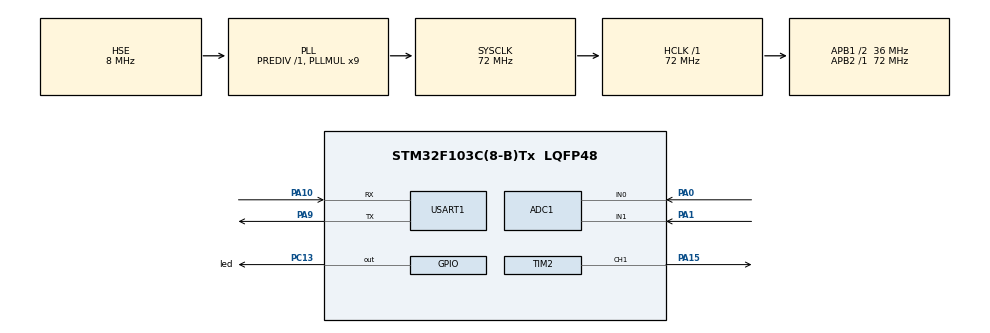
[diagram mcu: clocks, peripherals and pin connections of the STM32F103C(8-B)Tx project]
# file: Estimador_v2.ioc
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Mcu.Family=STM32F1
RCC.PLLSourceVirtual=RCC_PLLSOURCE_HSE
NVIC.ADC1_2_IRQn=true\:0\:0\:false\:false\:true\:true\:true
Dma.ADC1.0.Instance=DMA1_Channel1
ADC1.Rank-0\#ChannelRegularConversion=1
TIM3.Channel-Output\ Compare1\ No\ Output=TIM_CHANNEL_1
PD1-OSC_OUT.Mode=HSE-External-Oscillator
PA10.Mode=Asynchronous
PC13-TAMPER-RTC.Signal=GPIO_Output
PD0-OSC_IN.Signal=RCC_OSC_IN
RCC.APB1CLKDivider=RCC_HCLK_DIV2
RCC.SYSCLKSource=RCC_SYSCLKSOURCE_PLLCLK
ProjectManager.StackSize=0x400
PA0-WKUP.Signal=ADCx_IN0
TIM2.Pulse-PWM\ Generation1\ CH1=127
PD1-OSC_OUT.Signal=RCC_OSC_OUT
RCC.ADCPresc=RCC_ADCPCLK2_DIV6
PA13.Signal=SYS_JTMS-SWDIO
Dma.ADC1.0.PeriphDataAlignment=DMA_PDATAALIGN_HALFWORD
PA9.Mode=Asynchronous
ProjectManager.TargetToolchain=STM32CubeIDE
Dma.ADC1.0.Mode=DMA_CIRCULAR
RCC.HCLKFreq_Value=72000000
Dma.ADC1.0.Priority=DMA_PRIORITY_LOW
RCC.APB2TimFreq_Value=72000000
TIM3.Period=2 - 1
PA9.Signal=USART1_TX
ADC1.Channel-1\#ChannelRegularConversion=ADC_CHANNEL_1
Dma.ADC1.0.Direction=DMA_PERIPH_TO_MEMORY
RCC.USBFreq_Value=72000000
TIM4.Prescaler=720 - 1
Dma.ADC1.0.MemDataAlignment=DMA_MDATAALIGN_HALFWORD
PA1.Signal=ADCx_IN1
RCC.AHBFreq_Value=72000000
PD0-OSC_IN.Mode=HSE-External-Oscillator
ADC1.Channel-0\#ChannelRegularConversion=ADC_CHANNEL_0
board=custom
VP_TIM3_VS_no_output1.Mode=Output Compare1 No Output
PC13-TAMPER-RTC.GPIO_Label=led
RCC.PLLMUL=RCC_PLL_MUL9
RCC.APB2Freq_Value=72000000
VP_TIM2_VS_ClockSourceINT.Mode=Internal
PA14.Mode=Serial_Wire
TIM3.Prescaler=720 - 1
Dma.ADC1.0.PeriphInc=DMA_PINC_DISABLE
SH.ADCx_IN0.0=ADC1_IN0,IN0
TIM2.Channel-PWM\ Generation1\ CH1=TIM_CHANNEL_1
SH.S_TIM3_CH1.0=TIM3_CH1
TIM2.Period=256 - 1
TIM4.Period=2 - 1
ADC1.NbrOfConversion=2
PA13.Mode=Serial_Wire
Mcu.Name=STM32F103C(8-B)Tx
ADC1.SamplingTime-0\#ChannelRegularConversion=ADC_SAMPLETIME_1CYCLE_5
ADC1.ExternalTrigConv=ADC_EXTERNALTRIGCONV_T3_TRGO
ADC1.SamplingTime-1\#ChannelRegularConversion=ADC_SAMPLETIME_1CYCLE_5
RCC.SYSCLKFreq_VALUE=72000000
Mcu.Package=LQFP48
TIM2.Prescaler=1 - 1
ADC1.master=1
USART1.VirtualMode=VM_ASYNC
ADC1.Rank-1\#ChannelRegularConversion=2
SH.S_TIM2_CH1_ETR.0=TIM2_CH1,PWM Generation1 CH1
PA10.Signal=USART1_RX
PA14.Signal=SYS_JTCK-SWCLK
Dma.ADC1.0.MemInc=DMA_MINC_ENABLE
PA15.Signal=S_TIM2_CH1_ETR
ProjectManager.HeapSize=0x200
VP_TIM4_VS_ClockSourceINT.Mode=Internal
NVIC.PriorityGroup=NVIC_PRIORITYGROUP_4
ADC1.NbrOfConversionFlag=1
SH.ADCx_IN1.0=ADC1_IN1,IN1
RCC.APB1TimFreq_Value=72000000
NVIC.DMA1_Channel1_IRQn=true\:0\:0\:false\:false\:true\:false\:true
TIM3.TIM_MasterOutputTrigger=TIM_TRGO_UPDATE
NVIC.USART1_IRQn=true\:0\:0\:false\:false\:true\:true\:true
NVIC.TIM4_IRQn=true\:0\:0\:false\:false\:true\:true\:true
Dma.Request0=ADC1
RCC.APB1Freq_Value=36000000
VP_TIM3_VS_ClockSourceINT.Mode=Internal
PB4.Signal=S_TIM3_CH1

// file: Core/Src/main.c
/* USER CODE BEGIN Header */
/**
  ******************************************************************************
  * @file           : main.c
  * @brief          : Main program body
  ******************************************************************************
  * @attention
  *
  * <h2><center>&copy; Copyright (c) 2021 STMicroelectronics.
  * All rights reserved.</center></h2>
  *
  * This software component is licensed by ST under BSD 3-Clause license,
  * the "License"; You may not use this file except in compliance with the
  * License. You may obtain a copy of the License at:
  *                        opensource.org/licenses/BSD-3-Clause
  *
  ******************************************************************************
  */
/* USER CODE END Header */
#include "main.h"

/* USER CODE BEGIN Includes */
#include <stdio.h>
#include <stdlib.h>
#include <string.h>
#include <math.h>
#include "muestras.h"
#include "fdacoefs.h"
#include "fda_derivador.h"

/* USER CODE END Includes */

/* USER CODE BEGIN PM */
#define min(a,b) (((a)<(b))?(a):(b))
#define max(a,b) (((a)>(b))?(a):(b))
/* USER CODE END PM */

ADC_HandleTypeDef hadc1;
DMA_HandleTypeDef hdma_adc1;

TIM_HandleTypeDef htim2;
TIM_HandleTypeDef htim3;
TIM_HandleTypeDef htim4;

UART_HandleTypeDef huart1;

/* USER CODE BEGIN PV */
volatile uint16_t counter = 0;
const int pwmGain = 800;
volatile int8_t sign = 1;
uint16_t numViL;

uint8_t printSerial = 1;
uint32_t tLast = 0;
const uint8_t printInterval = 20;		//20 ms

#define adcSamples 100
uint16_t adcBuf[adcSamples];

volatile uint16_t adcVal[2];
#define numSamples  adcSamples / 2

uint16_t adc_ch0[numSamples];
uint16_t adc_ch1[numSamples];

volatile uint8_t adcConverted = 0;
/*const uint16_t fs = 50000;
const float RL = 0.2;
const float L_4mm = 16.2e-3;
float ViL[numSamples];
float IL[numSamples];
float ILmed;
float deltaIL;
float derivadas[numSamples];
float Yestimada[numSamples];
float Yestimada_promedio;
*/
const uint16_t fs = 50000;
const float RL = 0.2;
const float L_4mm = 16.2e-3;
const float Kh = 0.05;				//transductancia del sensor de efecto Hall
uint16_t vilIndex = 0;
#define N_ADC 16
const int n = N_ADC - 1;
uint16_t muestrasHall[N_ADC];
uint16_t muestrasRef[N_ADC];
float muestrasADC[N_ADC];
float IL[N_ADC];
float ILmed;
float deltaIL;
float derivadas[N_ADC];
float derivadas_filtrada[N_ADC];
float Yestimada[N_ADC];
float Yestimada_filtrada[N_ADC];

void getViL(float * ViL, uint16_t * adc){
	float res = 3.3 / 4096;
	for(int i = 0; i < numSamples; i++){
		ViL[i] = adc[i] * res;
	}
}

float corriente(float Xn){
		return Xn / Kh;
}

float corriente_media(float * IL){
	float sum = 0;
	for(int i = 0; i<numSamples; i++){
		sum += IL[i];
	}
	return sum/numSamples;
}

float delta_corriente(float * IL){
	float ILmax = 0;
	float ILmin = 100;
	for(int i= 0; i<numSamples; i++){
		ILmax = max(IL[i], ILmax);
		ILmin = min(IL[i], ILmin);
	}
	return ILmax - ILmin;
}

float derivar(float * muestrasADC, float ILmed){
	float deriv = 	(muestrasADC[n] - muestrasADC[n - 1]) * fs;
	deriv += ILmed * 0.05 * RL / L_4mm;			//corrección I * R
	return deriv;
}

float estimar(float derivada){
		float estim = (20 * abs(derivada) - 7.75e2) / 1.7e5;
		if(estim < 800e-3)
			return estim;
		else
			return 8e-3;						//esto lo hago para que la primera muestra no sea tan erronea
}

float filtrar(float * X, const float * B){			//acá la Y significa la salida del filtro, no la posición en mm
	float out = 0;
	for (int i = 0; i < N_ADC; i++) {				//acá aplico el filtro
		out += B[i] * X[n - i];			//B son los coeficientes de un filtro FIR
	 }
	 return out;
}

float promediar(float * Yestimada){
	float sum = 0;
	for(int i = 0; i < numSamples; i++){
		sum += Yestimada[i];
	}
	return sum / numSamples;
}

/* USER CODE END PV */

void SystemClock_Config(void);
static void MX_GPIO_Init(void);
static void MX_DMA_Init(void);
static void MX_TIM3_Init(void);
static void MX_TIM4_Init(void);
static void MX_ADC1_Init(void);
static void MX_TIM2_Init(void);
static void MX_USART1_UART_Init(void);

int main(void)
{

  /* MCU Configuration--------------------------------------------------------*/

  /* Reset of all peripherals, Initializes the Flash interface and the Systick. */
  HAL_Init();

  /* Configure the system clock */
  SystemClock_Config();

  /* Initialize all configured peripherals */
  MX_GPIO_Init();
  MX_DMA_Init();
  MX_TIM3_Init();
  MX_TIM4_Init();
  MX_ADC1_Init();
  MX_TIM2_Init();
  MX_USART1_UART_Init();
  /* USER CODE BEGIN 2 */

  //esto es para generar una señal de prueba en pwm. Se puede anular esta parte cuando hacemos pruebas en la placa real
  HAL_TIM_PWM_Start(&htim2, TIM_CHANNEL_1);
  HAL_TIM_Base_Start_IT(&htim4);
  //uint16_t loopDelay = 1;
   numViL = sizeof(ViLmuestras)/sizeof(ViLmuestras[0]);
   int loopCount = 0;

  //cosas del adc
  HAL_TIM_Base_Start(&htim3);				//inicio el timer 3 para comenzar las conversiones del ADC
  HAL_ADC_Start_DMA(&hadc1, (uint32_t *) adcVal, 2);			//inicio adc dma
      	  	  	  	  	  	  	  	  	  	  	  	  	  	  	//para que lea la cantidad numSamples
  	  	  	  	  	  	  	  	  	  	  	  	  	  	  	  	//y luego dispare una interrupción

  /* USER CODE END 2 */

  /* Infinite loop */
  while (1)
  {

    /* USER CODE BEGIN 3 */

	  if(adcConverted){
	 		 adcConverted = 0;
	 		 HAL_TIM_Base_Stop(&htim3);			//paro el timer del adc (esto es temporal)
	 		 HAL_GPIO_TogglePin(led_GPIO_Port, led_Pin);		//esto es para ver la frecuencia de muestreo

	 		 //esto es para separar las muestras del canal 1 y el 2
	 		 //leo la muestra de corriente y la pongo al final del array del sensor de efecto hall
			  muestrasHall[n] = adcVal[0];
			  muestrasRef[n] = adcVal[1];

			  //convierto el valor del ADC en valor de tensión
			  //muestrasADC[n] = (muestrasHall[n] * 3.3 / 4096) / pwmGain;
			  muestrasADC[n] = (muestrasHall[n] * 3.3 / 4096);

			  IL[n] = corriente(muestrasADC[n]);					//calculo el valor en corriente
			  ILmed = (IL[n] + ILmed) / 2;							//añado al promedio movil
			  //deltaIL
			  derivadas[n]  = abs(derivar(muestrasADC, IL[n]));			//calculo la derivada con la muestra anterior
			  derivadas_filtrada[n] = filtrar(derivadas, Bderiv);	//filtro las derivadas obtenidas
			  Yestimada[n]  = estimar(derivadas[n]);
			  Yestimada_filtrada[n] = filtrar(Yestimada, Bposicion);	//filtro

			  //acá paso todos los valores un lugar a la izquierda
			  for (int i = n; i > 0; i--) {
				  	muestrasHall[n - i] = muestrasHall[n - i + 1];
				  	muestrasRef[n - i] = muestrasRef[n - i + 1];
				  	muestrasADC[n - i] = muestrasADC[n - i + 1];
					IL[n - i] = IL[n - i + 1];
					derivadas[n - i] = derivadas[n - i + 1];
					derivadas_filtrada[n - i] = derivadas_filtrada[n - i + 1];
					Yestimada[n - i] = Yestimada[n - i + 1];
					Yestimada_filtrada[n - i] = Yestimada_filtrada[n - i + 1];
				  }

			  //esto es para graficar cada 20ms
	 		  if(printSerial){
	 			  if(HAL_GetTick() - tLast > printInterval){
	 				  tLast = HAL_GetTick();
						 // uint16_t s1 = Yestimada[n] * 1e6;
						 // uint16_t s2 = Yestimada_filtrada[n] * 1e6;
						  uint16_t s1 = derivadas[n];
						  uint16_t s2 = derivadas_filtrada[n];
	 				  	 // uint16_t s1 = muestrasRef[n];
						 // uint16_t s1 = muestrasADC[n] * 1e6;
						 // uint16_t s2 = ILmed * 1e6;
						  char str[20];
						  sprintf(str, "%d,%d\r\n", s1, s2);
						 // sprintf(str, "%d\r\n", s1);
						  HAL_UART_Transmit(&huart1, (uint8_t * ) str, strlen(str), 100);
	 			  }
	 		  }

	 		 //esto es para pausar el muestreo y graficar variables, después de cierta cantidad de muestras
	 		 if(++loopCount == 10000 && !printSerial) {
	 			 for(uint8_t i = 0; i < N_ADC; i++){
	 				// uint16_t s1 = derivadas[i];
	 				 uint16_t s1 = muestrasHall[i];
	 				 char str[20];
					 // sprintf(str, "%d,%d\r\n", s1, s2);
					 sprintf(str, "%d\r\n", s1);
					 HAL_UART_Transmit(&huart1, (uint8_t * ) str, strlen(str), 100);
	 			 }
	 			 loopCount = 0;
	 		 }

	 		 HAL_GPIO_TogglePin(led_GPIO_Port, led_Pin);		//esto es para ver cuanto tarda en ejecutar el código
	 		 HAL_TIM_Base_Start(&htim3);
	 	 }

  }
  /* USER CODE END 3 */
}

void SystemClock_Config(void)
{
  RCC_OscInitTypeDef RCC_OscInitStruct = {0};
  RCC_ClkInitTypeDef RCC_ClkInitStruct = {0};
  RCC_PeriphCLKInitTypeDef PeriphClkInit = {0};

  /** Initializes the RCC Oscillators according to the specified parameters
  * in the RCC_OscInitTypeDef structure.
  */
  RCC_OscInitStruct.OscillatorType = RCC_OSCILLATORTYPE_HSE;
  RCC_OscInitStruct.HSEState = RCC_HSE_ON;
  RCC_OscInitStruct.HSEPredivValue = RCC_HSE_PREDIV_DIV1;
  RCC_OscInitStruct.HSIState = RCC_HSI_ON;
  RCC_OscInitStruct.PLL.PLLState = RCC_PLL_ON;
  RCC_OscInitStruct.PLL.PLLSource = RCC_PLLSOURCE_HSE;
  RCC_OscInitStruct.PLL.PLLMUL = RCC_PLL_MUL9;
  if (HAL_RCC_OscConfig(&RCC_OscInitStruct) != HAL_OK)
  {
    Error_Handler();
  }
  /** Initializes the CPU, AHB and APB buses clocks
  */
  RCC_ClkInitStruct.ClockType = RCC_CLOCKTYPE_HCLK|RCC_CLOCKTYPE_SYSCLK
                              |RCC_CLOCKTYPE_PCLK1|RCC_CLOCKTYPE_PCLK2;
  RCC_ClkInitStruct.SYSCLKSource = RCC_SYSCLKSOURCE_PLLCLK;
  RCC_ClkInitStruct.AHBCLKDivider = RCC_SYSCLK_DIV1;
  RCC_ClkInitStruct.APB1CLKDivider = RCC_HCLK_DIV2;
  RCC_ClkInitStruct.APB2CLKDivider = RCC_HCLK_DIV1;

  if (HAL_RCC_ClockConfig(&RCC_ClkInitStruct, FLASH_LATENCY_2) != HAL_OK)
  {
    Error_Handler();
  }
  PeriphClkInit.PeriphClockSelection = RCC_PERIPHCLK_ADC;
  PeriphClkInit.AdcClockSelection = RCC_ADCPCLK2_DIV6;
  if (HAL_RCCEx_PeriphCLKConfig(&PeriphClkInit) != HAL_OK)
  {
    Error_Handler();
  }
}

static void MX_ADC1_Init(void)
{

  ADC_ChannelConfTypeDef sConfig = {0};

  /** Common config
  */
  hadc1.Instance = ADC1;
  hadc1.Init.ScanConvMode = ADC_SCAN_ENABLE;
  hadc1.Init.ContinuousConvMode = DISABLE;
  hadc1.Init.DiscontinuousConvMode = DISABLE;
  hadc1.Init.ExternalTrigConv = ADC_EXTERNALTRIGCONV_T3_TRGO;
  hadc1.Init.DataAlign = ADC_DATAALIGN_RIGHT;
  hadc1.Init.NbrOfConversion = 2;
  if (HAL_ADC_Init(&hadc1) != HAL_OK)
  {
    Error_Handler();
  }
  /** Configure Regular Channel
  */
  sConfig.Channel = ADC_CHANNEL_0;
  sConfig.Rank = ADC_REGULAR_RANK_1;
  sConfig.SamplingTime = ADC_SAMPLETIME_1CYCLE_5;
  if (HAL_ADC_ConfigChannel(&hadc1, &sConfig) != HAL_OK)
  {
    Error_Handler();
  }
  /** Configure Regular Channel
  */
  sConfig.Channel = ADC_CHANNEL_1;
  sConfig.Rank = ADC_REGULAR_RANK_2;
  if (HAL_ADC_ConfigChannel(&hadc1, &sConfig) != HAL_OK)
  {
    Error_Handler();
  }

}

static void MX_TIM2_Init(void)
{

  TIM_ClockConfigTypeDef sClockSourceConfig = {0};
  TIM_MasterConfigTypeDef sMasterConfig = {0};
  TIM_OC_InitTypeDef sConfigOC = {0};

  htim2.Instance = TIM2;
  htim2.Init.Prescaler = 1 - 1;
  htim2.Init.CounterMode = TIM_COUNTERMODE_UP;
  htim2.Init.Period = 256 - 1;
  htim2.Init.ClockDivision = TIM_CLOCKDIVISION_DIV1;
  htim2.Init.AutoReloadPreload = TIM_AUTORELOAD_PRELOAD_DISABLE;
  if (HAL_TIM_Base_Init(&htim2) != HAL_OK)
  {
    Error_Handler();
  }
  sClockSourceConfig.ClockSource = TIM_CLOCKSOURCE_INTERNAL;
  if (HAL_TIM_ConfigClockSource(&htim2, &sClockSourceConfig) != HAL_OK)
  {
    Error_Handler();
  }
  if (HAL_TIM_PWM_Init(&htim2) != HAL_OK)
  {
    Error_Handler();
  }
  sMasterConfig.MasterOutputTrigger = TIM_TRGO_RESET;
  sMasterConfig.MasterSlaveMode = TIM_MASTERSLAVEMODE_DISABLE;
  if (HAL_TIMEx_MasterConfigSynchronization(&htim2, &sMasterConfig) != HAL_OK)
  {
    Error_Handler();
  }
  sConfigOC.OCMode = TIM_OCMODE_PWM1;
  sConfigOC.Pulse = 127;
  sConfigOC.OCPolarity = TIM_OCPOLARITY_HIGH;
  sConfigOC.OCFastMode = TIM_OCFAST_DISABLE;
  if (HAL_TIM_PWM_ConfigChannel(&htim2, &sConfigOC, TIM_CHANNEL_1) != HAL_OK)
  {
    Error_Handler();
  }
  HAL_TIM_MspPostInit(&htim2);

}

static void MX_TIM3_Init(void)
{

  TIM_ClockConfigTypeDef sClockSourceConfig = {0};
  TIM_MasterConfigTypeDef sMasterConfig = {0};
  TIM_OC_InitTypeDef sConfigOC = {0};

  htim3.Instance = TIM3;
  htim3.Init.Prescaler = 720 - 1;
  htim3.Init.CounterMode = TIM_COUNTERMODE_UP;
  htim3.Init.Period = 2 - 1;
  htim3.Init.ClockDivision = TIM_CLOCKDIVISION_DIV1;
  htim3.Init.AutoReloadPreload = TIM_AUTORELOAD_PRELOAD_DISABLE;
  if (HAL_TIM_Base_Init(&htim3) != HAL_OK)
  {
    Error_Handler();
  }
  sClockSourceConfig.ClockSource = TIM_CLOCKSOURCE_INTERNAL;
  if (HAL_TIM_ConfigClockSource(&htim3, &sClockSourceConfig) != HAL_OK)
  {
    Error_Handler();
  }
  if (HAL_TIM_OC_Init(&htim3) != HAL_OK)
  {
    Error_Handler();
  }
  sMasterConfig.MasterOutputTrigger = TIM_TRGO_UPDATE;
  sMasterConfig.MasterSlaveMode = TIM_MASTERSLAVEMODE_DISABLE;
  if (HAL_TIMEx_MasterConfigSynchronization(&htim3, &sMasterConfig) != HAL_OK)
  {
    Error_Handler();
  }
  sConfigOC.OCMode = TIM_OCMODE_TIMING;
  sConfigOC.Pulse = 0;
  sConfigOC.OCPolarity = TIM_OCPOLARITY_HIGH;
  sConfigOC.OCFastMode = TIM_OCFAST_DISABLE;
  if (HAL_TIM_OC_ConfigChannel(&htim3, &sConfigOC, TIM_CHANNEL_1) != HAL_OK)
  {
    Error_Handler();
  }

}

static void MX_TIM4_Init(void)
{

  TIM_ClockConfigTypeDef sClockSourceConfig = {0};
  TIM_MasterConfigTypeDef sMasterConfig = {0};

  htim4.Instance = TIM4;
  htim4.Init.Prescaler = 720 - 1;
  htim4.Init.CounterMode = TIM_COUNTERMODE_UP;
  htim4.Init.Period = 2 - 1;
  htim4.Init.ClockDivision = TIM_CLOCKDIVISION_DIV1;
  htim4.Init.AutoReloadPreload = TIM_AUTORELOAD_PRELOAD_DISABLE;
  if (HAL_TIM_Base_Init(&htim4) != HAL_OK)
  {
    Error_Handler();
  }
  sClockSourceConfig.ClockSource = TIM_CLOCKSOURCE_INTERNAL;
  if (HAL_TIM_ConfigClockSource(&htim4, &sClockSourceConfig) != HAL_OK)
  {
    Error_Handler();
  }
  sMasterConfig.MasterOutputTrigger = TIM_TRGO_RESET;
  sMasterConfig.MasterSlaveMode = TIM_MASTERSLAVEMODE_DISABLE;
  if (HAL_TIMEx_MasterConfigSynchronization(&htim4, &sMasterConfig) != HAL_OK)
  {
    Error_Handler();
  }

}

static void MX_USART1_UART_Init(void)
{

  huart1.Instance = USART1;
  huart1.Init.BaudRate = 115200;
  huart1.Init.WordLength = UART_WORDLENGTH_8B;
  huart1.Init.StopBits = UART_STOPBITS_1;
  huart1.Init.Parity = UART_PARITY_NONE;
  huart1.Init.Mode = UART_MODE_TX_RX;
  huart1.Init.HwFlowCtl = UART_HWCONTROL_NONE;
  huart1.Init.OverSampling = UART_OVERSAMPLING_16;
  if (HAL_UART_Init(&huart1) != HAL_OK)
  {
    Error_Handler();
  }

}

static void MX_DMA_Init(void)
{

  /* DMA controller clock enable */
  __HAL_RCC_DMA1_CLK_ENABLE();

  /* DMA interrupt init */
  /* DMA1_Channel1_IRQn interrupt configuration */
  HAL_NVIC_SetPriority(DMA1_Channel1_IRQn, 0, 0);
  HAL_NVIC_EnableIRQ(DMA1_Channel1_IRQn);

}

static void MX_GPIO_Init(void)
{
  GPIO_InitTypeDef GPIO_InitStruct = {0};

  /* GPIO Ports Clock Enable */
  __HAL_RCC_GPIOC_CLK_ENABLE();
  __HAL_RCC_GPIOD_CLK_ENABLE();
  __HAL_RCC_GPIOA_CLK_ENABLE();
  __HAL_RCC_GPIOB_CLK_ENABLE();

  /*Configure GPIO pin Output Level */
  HAL_GPIO_WritePin(led_GPIO_Port, led_Pin, GPIO_PIN_RESET);

  /*Configure GPIO pin : led_Pin */
  GPIO_InitStruct.Pin = led_Pin;
  GPIO_InitStruct.Mode = GPIO_MODE_OUTPUT_PP;
  GPIO_InitStruct.Pull = GPIO_NOPULL;
  GPIO_InitStruct.Speed = GPIO_SPEED_FREQ_LOW;
  HAL_GPIO_Init(led_GPIO_Port, &GPIO_InitStruct);

}

/* USER CODE BEGIN 4 */

void HAL_TIM_PeriodElapsedCallback(TIM_HandleTypeDef *htim){
	float num = ViLmuestras[counter] * pwmGain;
	__HAL_TIM_SET_COMPARE(&htim2, TIM_CHANNEL_1, (uint8_t) num);
	  counter +=1 * sign;
	  if(counter >= numViL)
		  counter = 0;
	/*  if(sign == 1 && counter == 255)
		  sign = -1;
	  else if(sign == -1 && counter == 0)
		  sign = 1; */
}

//callback para cuando finalizan las conversiones del ADC
void HAL_ADC_ConvCpltCallback(ADC_HandleTypeDef * hadc){
	if(hadc->Instance == hadc1.Instance){
		adcConverted = 1;					//activo el flag del adc1
	}
}

/* USER CODE END 4 */

void Error_Handler(void)
{
  __disable_irq();
  while (1)
  {
  }
}

/************************ (C) COPYRIGHT STMicroelectronics *****END OF FILE****/
